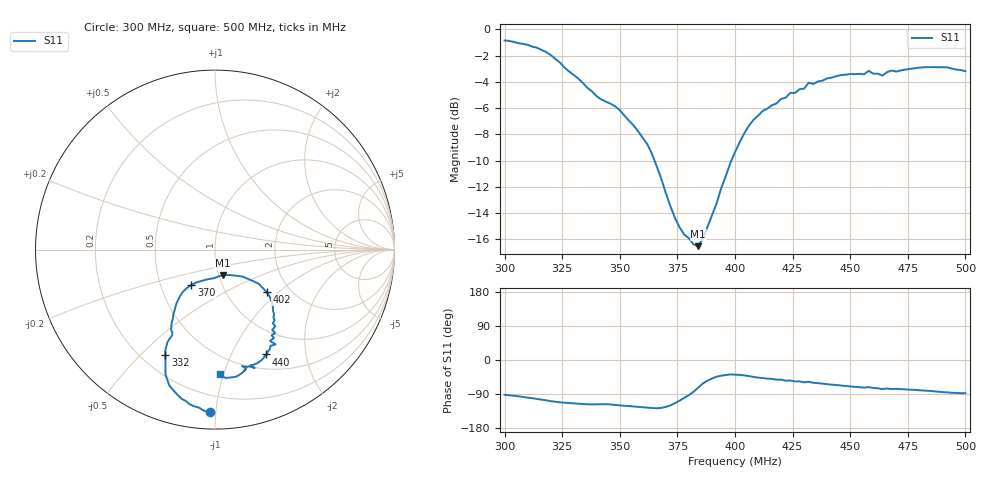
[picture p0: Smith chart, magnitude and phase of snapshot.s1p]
! Copper dipole in printed holder, existing calibration enabled; geometry and reference-plane equivalence not independently verified
# Hz S RI R 50
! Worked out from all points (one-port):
!   101 points, 300 MHz to 500 MHz, reference 50 ohm
!   lowest |S11| = -16.5 dB at 384 MHz (marker M1), VSWR 1.35, Z = 52.2 - j15.3 ohm
!   |S11| at or under -10 dB: 365.1 MHz to 398.4 MHz (33.35 MHz wide, 8.74 % of centre)
!   S11 on the Smith chart (normalised r, x): 300 MHz: 0.09, -0.96; 332 MHz: 0.29, -0.59; 370 MHz: 0.72, -0.30; 402 MHz: 1.53, -0.83; 440 MHz: 0.68, -1.37; 500 MHz: 0.36, -0.97
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3e8  -0.0291 -0.9069
3.14e8  -0.1861 -0.8313
3.2e8  -0.2546 -0.7569
3.26e8  -0.2761 -0.6604
3.32e8  -0.2772 -0.5874
3.4e8  -0.2524 -0.4955
3.5e8  -0.2437 -0.4273
3.62e8  -0.2128 -0.2954
3.7e8  -0.1316 -0.1974
3.76e8  -0.0513 -0.1681
3.84e8  0.0431 -0.1428
3.92e8  0.156 -0.1507
4e8  0.2655 -0.2134
4.02e8  0.2873 -0.235
4.12e8  0.3294 -0.361
4.24e8  0.3351 -0.4646
4.26e8  0.3156 -0.4775
4.3e8  0.3067 -0.5093
4.32e8  0.3376 -0.5274
4.4e8  0.2868 -0.5841
4.5e8  0.2347 -0.6337
4.56e8  0.1978 -0.6442
4.58e8  0.2205 -0.6593
4.64e8  0.1514 -0.6492
4.66e8  0.1742 -0.6644
4.76e8  0.1428 -0.6927
4.9e8  0.0642 -0.7146
5e8  0.0273 -0.6922
